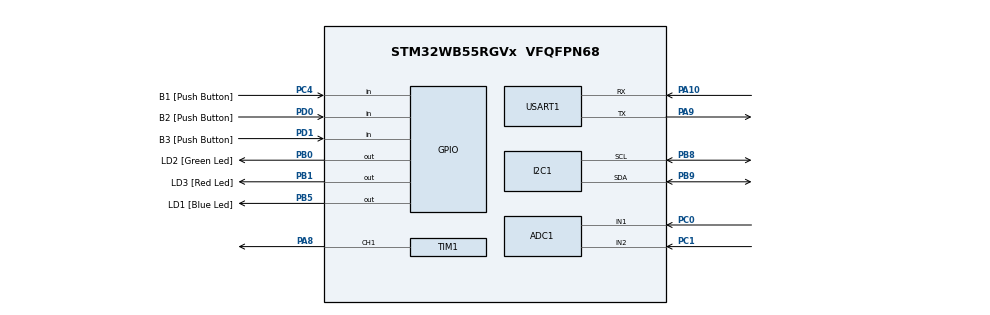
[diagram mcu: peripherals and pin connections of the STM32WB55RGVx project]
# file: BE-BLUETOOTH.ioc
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ADC1.Channel-1\#ChannelRegularConversion=ADC_CHANNEL_1
ADC1.Channel-2\#ChannelRegularConversion=ADC_CHANNEL_2
ADC1.ContinuousConvMode=ENABLE
ADC1.DMAContinuousRequests=ENABLE
ADC1.NbrOfConversion=2
ADC1.NbrOfConversionFlag=1
ADC1.OffsetNumber-1\#ChannelRegularConversion=ADC_OFFSET_NONE
ADC1.OffsetNumber-2\#ChannelRegularConversion=ADC_OFFSET_NONE
ADC1.Rank-1\#ChannelRegularConversion=1
ADC1.Rank-2\#ChannelRegularConversion=2
ADC1.SamplingTime-1\#ChannelRegularConversion=ADC_SAMPLETIME_247CYCLES_5
ADC1.SamplingTime-2\#ChannelRegularConversion=ADC_SAMPLETIME_247CYCLES_5
ADC1.master=1
Dma.ADC1.0.Direction=DMA_PERIPH_TO_MEMORY
Dma.ADC1.0.EventEnable=DISABLE
Dma.ADC1.0.Instance=DMA1_Channel1
Dma.ADC1.0.MemDataAlignment=DMA_MDATAALIGN_HALFWORD
Dma.ADC1.0.MemInc=DMA_MINC_ENABLE
Dma.ADC1.0.Mode=DMA_CIRCULAR
Dma.ADC1.0.PeriphDataAlignment=DMA_PDATAALIGN_HALFWORD
Dma.ADC1.0.PeriphInc=DMA_PINC_DISABLE
Dma.ADC1.0.Polarity=HAL_DMAMUX_REQ_GEN_RISING
Dma.ADC1.0.Priority=DMA_PRIORITY_LOW
Dma.ADC1.0.RequestNumber=1
Dma.ADC1.0.SignalID=NONE
Dma.ADC1.0.SyncEnable=DISABLE
Dma.ADC1.0.SyncPolarity=HAL_DMAMUX_SYNC_NO_EVENT
Dma.ADC1.0.SyncRequestNumber=1
Dma.ADC1.0.SyncSignalID=NONE
Dma.Request0=ADC1
I2C1.Timing=0x00B07CB4
Mcu.Family=STM32WB
Mcu.Name=STM32WB55RGVx
Mcu.Package=VFQFPN68
NUCLEO-WB55RG.VCP=false
NVIC.ADC1_IRQn=true\:1\:0\:true\:false\:true\:true\:true\:true
NVIC.DMA1_Channel1_IRQn=true\:0\:0\:false\:false\:true\:false\:true\:true
NVIC.HSEM_IRQn=true\:0\:0\:false\:false\:true\:false\:true\:true
NVIC.IPCC_C1_RX_IRQn=true\:0\:0\:false\:false\:true\:true\:true\:true
NVIC.IPCC_C1_TX_IRQn=true\:0\:0\:false\:false\:true\:true\:true\:true
NVIC.PriorityGroup=NVIC_PRIORITYGROUP_4
NVIC.RTC_WKUP_IRQn=true\:0\:0\:false\:false\:true\:true\:true\:true
OSC_IN.GPIO_Label=RCC_OSC_IN
OSC_IN.Mode=HSE-External-Oscillator
OSC_IN.Signal=RCC_OSC_IN
OSC_OUT.GPIO_Label=RCC_OSC_OUT
OSC_OUT.Mode=HSE-External-Oscillator
OSC_OUT.Signal=RCC_OSC_OUT
PA10.Mode=Asynchronous
PA10.Signal=USART1_RX
PA11.GPIO_Label=USB_DM
PA11.Signal=USB_DM
PA12.GPIO_Label=USB_DP
PA12.Signal=USB_DP
PA13.GPIO_Label=JTMS
PA13.Signal=SYS_JTMS-SWDIO
PA14.GPIO_Label=JTCK
PA14.Signal=SYS_JTCK-SWCLK
PA6.Signal=S_TIM16_CH1
PA8.Signal=S_TIM1_CH1
PA9.Mode=Asynchronous
PA9.Signal=USART1_TX
PB0.GPIO_Label=LD2 [Green Led]
PB0.Signal=GPIO_Output
PB1.GPIO_Label=LD3 [Red Led]
PB1.Signal=GPIO_Output
PB3.GPIO_Label=JTDO
PB3.Signal=SYS_JTDO-SWO
PB5.GPIO_Label=LD1 [Blue Led]
PB5.Signal=GPIO_Output
PB8.Mode=I2C
PB8.Signal=I2C1_SCL
PB9.Mode=I2C
PB9.Signal=I2C1_SDA
PC0.Signal=ADCx_IN1
PC1.Signal=ADCx_IN2
PC13.GPIO_Label=SYS_WKUP2
PC13.Signal=SYS_WKUP2
PC14-OSC32_IN.GPIO_Label=RCC_OSC32_IN
PC14-OSC32_IN.Mode=LSE-External-Oscillator
PC14-OSC32_IN.Signal=RCC_OSC32_IN
PC15-OSC32_OUT.GPIO_Label=RCC_OSC32_OUT
PC15-OSC32_OUT.Mode=LSE-External-Oscillator
PC15-OSC32_OUT.Signal=RCC_OSC32_OUT
PC4.GPIO_Label=B1 [Push Button]
PC4.GPIO_PuPd=GPIO_PULLUP
PC4.Signal=GPIO_Input
PD0.GPIO_Label=B2 [Push Button]
PD0.GPIO_PuPd=GPIO_PULLUP
PD0.Signal=GPIO_Input
PD1.GPIO_Label=B3 [Push Button]
PD1.Signal=GPIO_Input
ProjectManager.HeapSize=0x200
ProjectManager.StackSize=0x400
ProjectManager.TargetToolchain=STM32CubeIDE
RCC.ADCFreq_Value=16000000
RCC.AHBFreq_Value=32000000
RCC.APB1Freq_Value=32000000
RCC.APB1TimFreq_Value=32000000
RCC.APB2Freq_Value=32000000
RCC.APB2TimFreq_Value=32000000
RCC.APB3Freq_Value=16000000
RCC.CortexFreq_Value=32000000
RCC.HCLKFreq_Value=32000000
RCC.HSE_VALUE=32000000
RCC.HSI48_VALUE=48000000
RCC.HSI_VALUE=16000000
RCC.MSIClockRange=RCC_MSIRANGE_10
RCC.PLLM=RCC_PLLM_DIV2
RCC.PLLSAI1R=RCC_PLLR_DIV8
RCC.RFWKPClockSelection=RCC_RFWKPCLKSOURCE_LSE
RCC.RTCClockSelection=RCC_RTCCLKSOURCE_LSE
RCC.SMPSCLockSelection=RCC_SMPSCLKSOURCE_HSI
RCC.SMPSCLockSelectionVirtual=RCC_SMPSCLKSOURCE_HSI
RCC.SMPSCLockSelectionVirtualVirtual=RCC_SMPSCLKSOURCE_HSI
RCC.SMPSDivider=1
RCC.SYSCLKFreq_VALUE=32000000
RCC.USBFreq_Value=64000000
RCC.VCOOutputFreq_Value=128000000
RF1.Mode=RF1_Activate
RF1.Signal=RF_RF1
SH.ADCx_IN1.0=ADC1_IN1,IN1-Single-Ended
SH.ADCx_IN2.0=ADC1_IN2,IN2-Single-Ended
SH.S_TIM16_CH1.0=TIM16_CH1
SH.S_TIM1_CH1.0=TIM1_CH1,PWM Generation1 CH1
STM32_WPAN.AD_TYPE_COMPLETE_LOCAL_NAME=BUREAU-ETUDE-G14
STM32_WPAN.AD_TYPE_COMPLETE_LOCAL_NAME_LENGTH=17
STM32_WPAN.CFG_LSCLK_LSE=0
STM32_WPAN.CUSTOM_P2P_SERVER=Disabled
STM32_WPAN.CUSTOM_TEMPLATE=Enabled
STM32_WPAN.INCLUDE_AD_TYPE_COMPLETE_LOCAL_NAME=1
STM32_WPAN.NUMBER_OF_SERVICES=1
STM32_WPAN.SERVICE1_CHAR1_GATT_NOTIFY_READ_REQ_AND_WAIT_FOR_APPL_RESP=\ 
STM32_WPAN.SERVICE1_CHAR1_GATT_NOTIFY_WRITE_REQ_AND_WAIT_FOR_APPL_RESP=\ 
STM32_WPAN.SERVICE1_CHAR1_LONG_NAME=myCharWrite
STM32_WPAN.SERVICE1_CHAR1_PROP_WRITE=CHAR_PROP_WRITE
STM32_WPAN.SERVICE1_CHAR1_SHORT_NAME=myCharWrite
STM32_WPAN.SERVICE1_CHAR2_LONG_NAME=myCharNotify
STM32_WPAN.SERVICE1_CHAR2_PROP_NOTIFY=CHAR_PROP_NOTIFY
STM32_WPAN.SERVICE1_CHAR2_SHORT_NAME=myCharNotify
STM32_WPAN.SERVICE1_CHAR2_UUID=00 01
STM32_WPAN.SERVICE1_CHAR2_VALUE_LENGTH=4
STM32_WPAN.SERVICE1_CHAR3_LONG_NAME=MyButton
STM32_WPAN.SERVICE1_CHAR3_PROP_NOTIFY=CHAR_PROP_NOTIFY
STM32_WPAN.SERVICE1_CHAR3_SHORT_NAME=MyButton
STM32_WPAN.SERVICE1_CHAR3_UUID=00 02
STM32_WPAN.SERVICE1_CHAR3_VALUE_LENGTH=1
STM32_WPAN.SERVICE1_LONG_NAME=BEG14_SERVICE
STM32_WPAN.SERVICE1_NUMBER_OF_CHARACTERISTICS=3
STM32_WPAN.SERVICE1_SHORT_NAME=BEG14
TIM1.Channel-PWM\ Generation1\ CH1=TIM_CHANNEL_1
TIM1.Period=999
TIM1.Prescaler=31
USART1.VirtualMode-Asynchronous=VM_ASYNC
VP_HSEM_VS_HSEM.Mode=HSEM_Activate
VP_IPCC_VS_IPCC.Mode=IPCC_Activate
VP_MEMORYMAP_VS_MEMORYMAP.Mode=CurAppReg
VP_NUCLEO-WB55RG_VS_BSP_COMMON.Mode=COMMON
VP_RTC_VS_RTC_Activate.Mode=RTC_Enabled
VP_RTC_VS_RTC_WakeUp_intern.Mode=WakeUp
VP_SEQUENCER_VS_SEQUENCER.Mode=SEQUENCER_Enabled
VP_STM32_WPAN_VS_BLE_HOST.Mode=STM32_WPAN_Enabled
VP_TIM1_VS_ClockSourceINT.Mode=Internal
VP_TINY_LPM_VS_TINY_LPM.Mode=TINY_LPM_Enabled
board=NUCLEO-WB55RG

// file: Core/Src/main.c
/* USER CODE BEGIN Header */
/**
  ******************************************************************************
  * @file           : main.c
  * @brief          : Main program body
  ******************************************************************************
  * @attention
  *
  * Copyright (c) 2026 STMicroelectronics.
  * All rights reserved.
  *
  * This software is licensed under terms that can be found in the LICENSE file
  * in the root directory of this software component.
  * If no LICENSE file comes with this software, it is provided AS-IS.
  *
  ******************************************************************************
  */
/* USER CODE END Header */
#include "main.h"
#include "adc.h"
#include "dma.h"
#include "i2c.h"
#include "ipcc.h"
#include "memorymap.h"
#include "rf.h"
#include "rtc.h"
#include "tim.h"
#include "usart.h"
#include "gpio.h"

/* USER CODE BEGIN Includes */
#include <stdio.h>
#include <string.h>
#include "data.h"
#include "lcd.h"

/* USER CODE END Includes */

/* USER CODE BEGIN PD */
#define MAX_MOISTURE 2500
#define MAX_LUX 3000
/* USER CODE END PD */

/* USER CODE BEGIN PV */
uint16_t lux=0 ;
uint16_t moisture=0;
uint16_t raw_data[2];

// Variables pour l'affichage des lcd

uint16_t prev_mois=0, prev_lux = 0 ;
 static uint32_t last = 0;
 static uint32_t last_arrosage=0 ;
 static uint32_t com=0 ;
/* USER CODE END PV */

void SystemClock_Config(void);
void PeriphCommonClock_Config(void);

/* USER CODE BEGIN 0 */
volatile uint8_t convCompleted=0 ;

void HAL_ADC_ConvCpltCallback(ADC_HandleTypeDef *hadc)
{
  convCompleted = 1 ;
}

/* USER CODE END 0 */

int main(void)
{

  /* MCU Configuration--------------------------------------------------------*/

  /* Reset of all peripherals, Initializes the Flash interface and the Systick. */
  HAL_Init();
  /* Config code for STM32_WPAN (HSE Tuning must be done before system clock configuration) */
  MX_APPE_Config();

  /* Configure the system clock */
  SystemClock_Config();

  /* Configure the peripherals common clocks */
  PeriphCommonClock_Config();

  /* IPCC initialisation */
  MX_IPCC_Init();

  /* Initialize all configured peripherals */
  MX_GPIO_Init();
  MX_DMA_Init();
  MX_RTC_Init();
  MX_ADC1_Init();
  MX_I2C1_Init();
  MX_USART1_UART_Init();
  MX_TIM1_Init();
  MX_RF_Init();
  /* USER CODE BEGIN 2 */
   rgb_lcd lcd;
   lcd_init(&hi2c1,&lcd);
  /* USER CODE END 2 */

  /* Init code for STM32_WPAN */
  MX_APPE_Init();

  /* Infinite loop */
  /* USER CODE BEGIN WHILE */
  HAL_ADC_Start_DMA(&hadc1, (uint32_t *) raw_data, 2);

  HAL_TIM_PWM_Start(&htim1, TIM_CHANNEL_1);

  uint8_t aff_mois, aff_lux ;

  while (1)
  {

    /* USER CODE END WHILE */
    MX_APPE_Process();

    /* USER CODE BEGIN 3 */

    if (convCompleted) {

        moisture = raw_data[0];
        lux      = raw_data[1];

        // On affiche que si il y'a un grand changement
        // Eviter que le ADC affiche tout le temps

       if ((moisture-prev_mois)>10 || (prev_mois - moisture )>10 )
            {

        	prev_mois=moisture ;
            }

       if((lux-prev_lux)>200 || (prev_lux - lux)>200) {

        	 prev_lux=lux ;
       }

       // Sortie PWM pour la commande
       // Sortie sur PA8
       // on fix l'interval d'arrossage à 1000 ticks

       /**
        * Arrosage forcé du système, ici le forcage a une priorité supérieure sur l'asservissement
        * une fois la réception de la commande bluetooth, on demarre le moteur.
        *
        * NB: A la reception du signal, get_command renvoie 1 tout le temps ce qui donne un arrossage forcé i.e (if),
        * et lorsque l'éteint depuis l'application, get_command renvoie 0 et l'asservissement reprend son cours i.e (else).
        * */
       if (get_command()){
    	   __HAL_TIM_SET_COMPARE(&htim1, TIM_CHANNEL_1, 200); //20% de la tension
       }
       else{
        if ( HAL_GetTick()-last_arrosage > 1000 ){
            //Lorsque le sol est très sec
        	// On alimente à 40% de la tension
        	if ( moisture >= 0 && moisture < 300 )
        	    __HAL_TIM_SET_COMPARE(&htim1, TIM_CHANNEL_1, 400); // 40% de la tension
        	// Lorsque le sol est un peu humide
        	//On alimente à 20% de la tension
        	if ( moisture >= 300 && moisture <700)
        		  __HAL_TIM_SET_COMPARE(&htim1, TIM_CHANNEL_1, 200);
        	//Lorque le sol est humide
        	// On cesse d'alimenter le moteur
        	if( moisture >=700)
        		  __HAL_TIM_SET_COMPARE(&htim1, TIM_CHANNEL_1, 0);
        	last_arrosage=HAL_GetTick();

        }

       }

        // Permet de mettre à jour les valeurs de lux et moisture au niveau de la stack bluetooth
        set_lux(lux ) ;
        set_mois(moisture) ;
        // Indicateur de fin de conversion par le DMA
        convCompleted = 0;

       // Affichage après 1000 ticks
       // Parce que les mesures fluctue trop on essaie des les actualiser uniquement après 1000 ticks
        // 1000 ticks == 1000/(32*1000000) = 31,25us
        if (HAL_GetTick() - last > 1000) {
        char buffer[17];
        char buffer_l[17];
        lcd_position(&hi2c1, 0, 0);
        aff_mois =(prev_mois*100)/MAX_MOISTURE;
        aff_lux=  (prev_lux*100)/MAX_LUX ;
         // Affichage sur lCD une ligne
              snprintf(buffer, sizeof(buffer), "SM: %d", aff_mois);

               lcd_print(&hi2c1, buffer);
               lcd_print(&hi2c1, "% ");
               snprintf(buffer, sizeof(buffer), "LUX: %d",aff_lux);
               lcd_print(&hi2c1, buffer);
               lcd_print(&hi2c1, "%");

        last=HAL_GetTick();

        /* snprintf(buffer, sizeof(buffer), "MOISTURE : %d ", aff_mois);
               //HAL_UART_Transmit(&huart1,buffer , 27, 10);
               lcd_print(&hi2c1, buffer);
               lcd_print(&hi2c1, "%");
               lcd_position(&hi2c1, 0, 1);
               snprintf(buffer_l, sizeof(buffer_l), "LUMIERE: %d ",aff_lux);
               lcd_print(&hi2c1, buffer_l);
               lcd_print(&hi2c1, "%");*/

        }

    }

  }
  /* USER CODE END 3 */
}

void SystemClock_Config(void)
{
  RCC_OscInitTypeDef RCC_OscInitStruct = {0};
  RCC_ClkInitTypeDef RCC_ClkInitStruct = {0};

  /** Macro to configure the PLL multiplication factor
  */
  __HAL_RCC_PLL_PLLM_CONFIG(RCC_PLLM_DIV2);

  /** Macro to configure the PLL clock source
  */
  __HAL_RCC_PLL_PLLSOURCE_CONFIG(RCC_PLLSOURCE_MSI);

  /** Configure LSE Drive Capability
  */
  HAL_PWR_EnableBkUpAccess();
  __HAL_RCC_LSEDRIVE_CONFIG(RCC_LSEDRIVE_MEDIUMHIGH);

  /** Configure the main internal regulator output voltage
  */
  __HAL_PWR_VOLTAGESCALING_CONFIG(PWR_REGULATOR_VOLTAGE_SCALE1);

  /** Initializes the RCC Oscillators according to the specified parameters
  * in the RCC_OscInitTypeDef structure.
  */
  RCC_OscInitStruct.OscillatorType = RCC_OSCILLATORTYPE_HSI|RCC_OSCILLATORTYPE_HSE
                              |RCC_OSCILLATORTYPE_LSE|RCC_OSCILLATORTYPE_MSI;
  RCC_OscInitStruct.HSEState = RCC_HSE_ON;
  RCC_OscInitStruct.LSEState = RCC_LSE_ON;
  RCC_OscInitStruct.HSIState = RCC_HSI_ON;
  RCC_OscInitStruct.MSIState = RCC_MSI_ON;
  RCC_OscInitStruct.HSICalibrationValue = RCC_HSICALIBRATION_DEFAULT;
  RCC_OscInitStruct.MSICalibrationValue = RCC_MSICALIBRATION_DEFAULT;
  RCC_OscInitStruct.MSIClockRange = RCC_MSIRANGE_10;
  RCC_OscInitStruct.PLL.PLLState = RCC_PLL_NONE;
  if (HAL_RCC_OscConfig(&RCC_OscInitStruct) != HAL_OK)
  {
    Error_Handler();
  }

  /** Configure the SYSCLKSource, HCLK, PCLK1 and PCLK2 clocks dividers
  */
  RCC_ClkInitStruct.ClockType = RCC_CLOCKTYPE_HCLK4|RCC_CLOCKTYPE_HCLK2
                              |RCC_CLOCKTYPE_HCLK|RCC_CLOCKTYPE_SYSCLK
                              |RCC_CLOCKTYPE_PCLK1|RCC_CLOCKTYPE_PCLK2;
  RCC_ClkInitStruct.SYSCLKSource = RCC_SYSCLKSOURCE_MSI;
  RCC_ClkInitStruct.AHBCLKDivider = RCC_SYSCLK_DIV1;
  RCC_ClkInitStruct.APB1CLKDivider = RCC_HCLK_DIV1;
  RCC_ClkInitStruct.APB2CLKDivider = RCC_HCLK_DIV1;
  RCC_ClkInitStruct.AHBCLK2Divider = RCC_SYSCLK_DIV1;
  RCC_ClkInitStruct.AHBCLK4Divider = RCC_SYSCLK_DIV1;

  if (HAL_RCC_ClockConfig(&RCC_ClkInitStruct, FLASH_LATENCY_1) != HAL_OK)
  {
    Error_Handler();
  }
}

void PeriphCommonClock_Config(void)
{
  RCC_PeriphCLKInitTypeDef PeriphClkInitStruct = {0};

  /** Initializes the peripherals clock
  */
  PeriphClkInitStruct.PeriphClockSelection = RCC_PERIPHCLK_SMPS|RCC_PERIPHCLK_RFWAKEUP;
  PeriphClkInitStruct.RFWakeUpClockSelection = RCC_RFWKPCLKSOURCE_LSE;
  PeriphClkInitStruct.SmpsClockSelection = RCC_SMPSCLKSOURCE_HSI;
  PeriphClkInitStruct.SmpsDivSelection = RCC_SMPSCLKDIV_RANGE0;

  if (HAL_RCCEx_PeriphCLKConfig(&PeriphClkInitStruct) != HAL_OK)
  {
    Error_Handler();
  }
}

void Error_Handler(void)
{
  __disable_irq();
  while (1)
  {
  }
}
